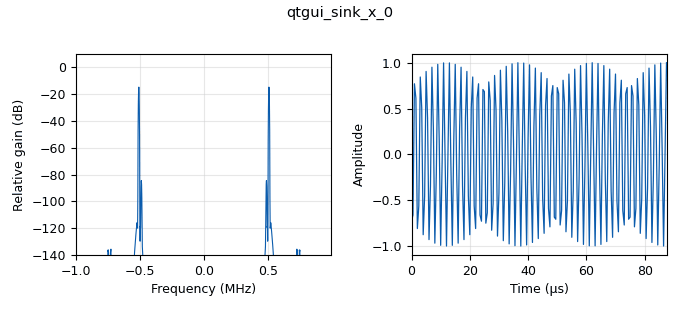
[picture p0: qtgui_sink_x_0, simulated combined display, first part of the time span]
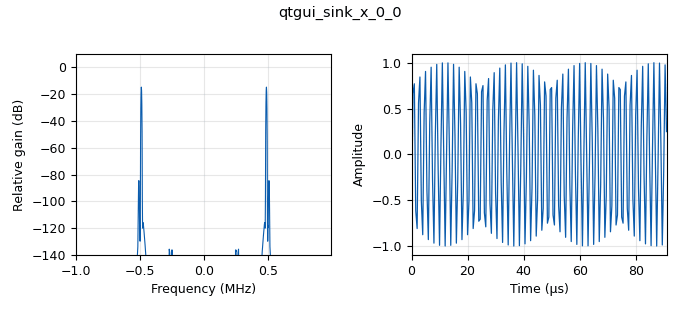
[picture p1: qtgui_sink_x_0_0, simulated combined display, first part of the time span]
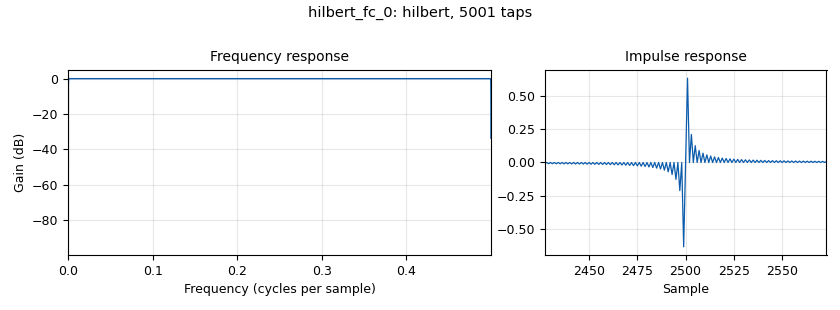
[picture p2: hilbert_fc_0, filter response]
<?xml version='1.0' encoding='utf-8'?>
<?grc format='1' created='3.7.11'?>
<flow_graph>
<block>
<key>options</key>
<param><key>id</key><value>top_block</value></param>
<param><key>generate_options</key><value>qt_gui</value></param>
</block>
<block>
<key>variable</key>
<param><key>id</key><value>samp_rate</value></param>
<param><key>value</key><value>2000000</value></param>
</block>
<block>
<key>analog_sig_source_x</key>
<param><key>id</key><value>analog_sig_source_x_0</value></param>
<param><key>amp</key><value>1</value></param>
<param><key>freq</key><value>500000</value></param>
<param><key>offset</key><value>0</value></param>
<param><key>type</key><value>complex</value></param>
<param><key>samp_rate</key><value>samp_rate</value></param>
<param><key>waveform</key><value>analog.GR_COS_WAVE</value></param>
</block>
<block>
<key>analog_sig_source_x</key>
<param><key>id</key><value>analog_sig_source_x_1</value></param>
<param><key>amp</key><value>1</value></param>
<param><key>freq</key><value>10000</value></param>
<param><key>offset</key><value>0</value></param>
<param><key>type</key><value>float</value></param>
<param><key>samp_rate</key><value>samp_rate</value></param>
<param><key>waveform</key><value>analog.GR_COS_WAVE</value></param>
</block>
<block>
<key>blocks_complex_to_real</key>
<param><key>id</key><value>blocks_complex_to_real_0</value></param>
</block>
<block>
<key>blocks_complex_to_real</key>
<param><key>id</key><value>blocks_complex_to_real_0_0</value></param>
</block>
<block>
<key>blocks_conjugate_cc</key>
<param><key>id</key><value>blocks_conjugate_cc_0</value></param>
</block>
<block>
<key>blocks_multiply_xx</key>
<param><key>id</key><value>blocks_multiply_xx_0</value></param>
<param><key>type</key><value>complex</value></param>
</block>
<block>
<key>blocks_multiply_xx</key>
<param><key>id</key><value>blocks_multiply_xx_0_0</value></param>
<param><key>type</key><value>complex</value></param>
</block>
<block>
<key>blocks_throttle</key>
<param><key>id</key><value>blocks_throttle_0</value></param>
<param><key>samples_per_second</key><value>32000</value></param>
<param><key>type</key><value>float</value></param>
</block>
<block>
<key>blocks_throttle</key>
<param><key>id</key><value>blocks_throttle_0_0</value></param>
<param><key>samples_per_second</key><value>32000</value></param>
<param><key>type</key><value>float</value></param>
</block>
<block>
<key>hilbert_fc</key>
<param><key>id</key><value>hilbert_fc_0</value></param>
<param><key>num_taps</key><value>5000</value></param>
<param><key>win</key><value>firdes.WIN_HAMMING</value></param>
</block>
<block>
<key>qtgui_sink_x</key>
<param><key>id</key><value>qtgui_sink_x_0</value></param>
<param><key>bw</key><value>samp_rate</value></param>
<param><key>fc</key><value>0</value></param>
<param><key>freqchangevar</key><value>None</value></param>
<param><key>fftsize</key><value>1024</value></param>
<param><key>showports</key><value>True</value></param>
<param><key>type</key><value>float</value></param>
<param><key>wintype</key><value>firdes.WIN_BLACKMAN_hARRIS</value></param>
</block>
<block>
<key>qtgui_sink_x</key>
<param><key>id</key><value>qtgui_sink_x_0_0</value></param>
<param><key>bw</key><value>samp_rate</value></param>
<param><key>fc</key><value>0</value></param>
<param><key>freqchangevar</key><value>None</value></param>
<param><key>fftsize</key><value>1024</value></param>
<param><key>showports</key><value>True</value></param>
<param><key>type</key><value>float</value></param>
<param><key>wintype</key><value>firdes.WIN_BLACKMAN_hARRIS</value></param>
</block>
<connection><source_block_id>analog_sig_source_x_0</source_block_id><sink_block_id>blocks_conjugate_cc_0</sink_block_id><source_key>0</source_key><sink_key>0</sink_key></connection>
<connection><source_block_id>analog_sig_source_x_0</source_block_id><sink_block_id>blocks_multiply_xx_0</sink_block_id><source_key>0</source_key><sink_key>0</sink_key></connection>
<connection><source_block_id>analog_sig_source_x_1</source_block_id><sink_block_id>hilbert_fc_0</sink_block_id><source_key>0</source_key><sink_key>0</sink_key></connection>
<connection><source_block_id>blocks_complex_to_real_0</source_block_id><sink_block_id>blocks_throttle_0</sink_block_id><source_key>0</source_key><sink_key>0</sink_key></connection>
<connection><source_block_id>blocks_complex_to_real_0_0</source_block_id><sink_block_id>blocks_throttle_0_0</sink_block_id><source_key>0</source_key><sink_key>0</sink_key></connection>
<connection><source_block_id>blocks_conjugate_cc_0</source_block_id><sink_block_id>blocks_multiply_xx_0_0</sink_block_id><source_key>0</source_key><sink_key>0</sink_key></connection>
<connection><source_block_id>blocks_multiply_xx_0</source_block_id><sink_block_id>blocks_complex_to_real_0</sink_block_id><source_key>0</source_key><sink_key>0</sink_key></connection>
<connection><source_block_id>blocks_multiply_xx_0_0</source_block_id><sink_block_id>blocks_complex_to_real_0_0</sink_block_id><source_key>0</source_key><sink_key>0</sink_key></connection>
<connection><source_block_id>blocks_throttle_0</source_block_id><sink_block_id>qtgui_sink_x_0</sink_block_id><source_key>0</source_key><sink_key>0</sink_key></connection>
<connection><source_block_id>blocks_throttle_0_0</source_block_id><sink_block_id>qtgui_sink_x_0_0</sink_block_id><source_key>0</source_key><sink_key>0</sink_key></connection>
<connection><source_block_id>hilbert_fc_0</source_block_id><sink_block_id>blocks_multiply_xx_0</sink_block_id><source_key>0</source_key><sink_key>1</sink_key></connection>
<connection><source_block_id>hilbert_fc_0</source_block_id><sink_block_id>blocks_multiply_xx_0_0</sink_block_id><source_key>0</source_key><sink_key>1</sink_key></connection>
</flow_graph>
